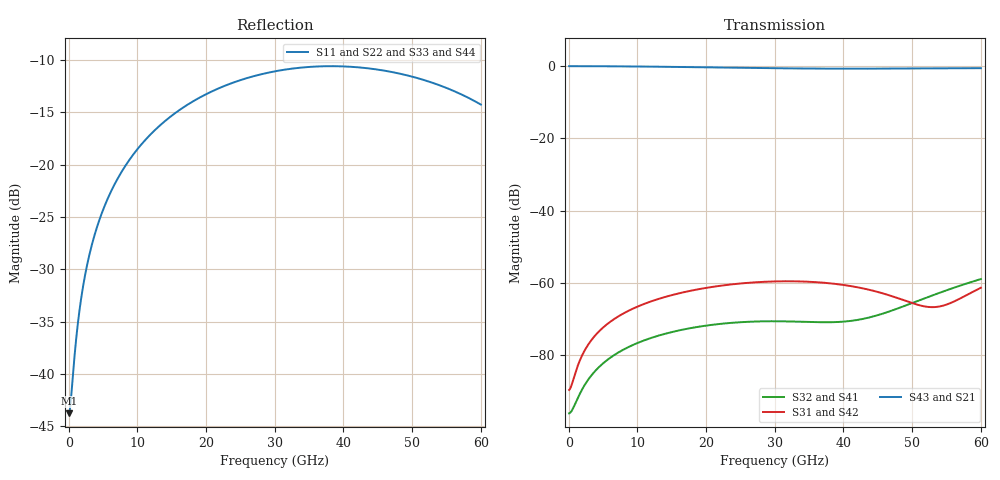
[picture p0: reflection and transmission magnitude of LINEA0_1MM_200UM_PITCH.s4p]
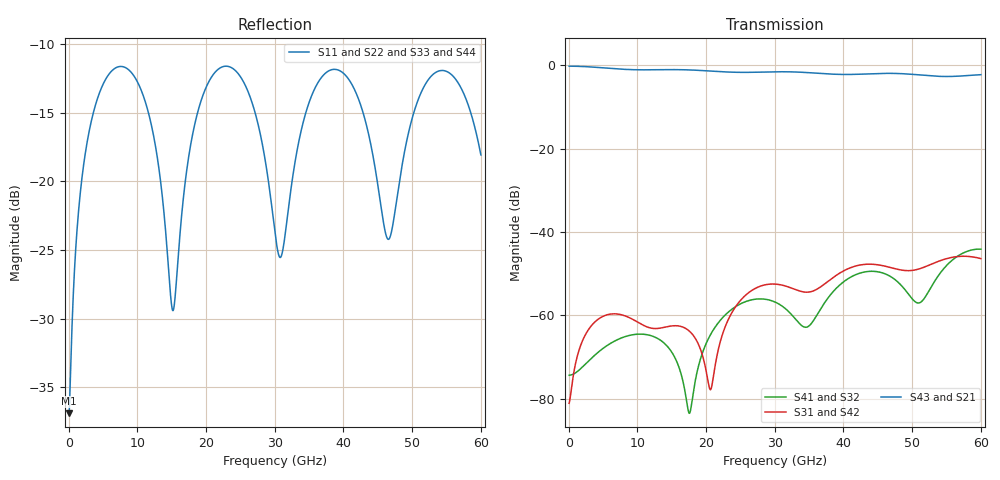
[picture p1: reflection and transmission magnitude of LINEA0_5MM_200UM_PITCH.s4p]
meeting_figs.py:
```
"""Figures and equation images for the meeting deck (crosstalk_meeting.pptx)."""
import os, sys, numpy as np
HERE = os.path.dirname(os.path.abspath(__file__)); ROOT = os.path.abspath(os.path.join(HERE, "../../../.."))
sys.path.insert(0, ROOT)
import matplotlib; matplotlib.use("Agg"); import matplotlib.pyplot as plt
from mzm_interconnect import coupled_line as CL
OUT = os.path.join(HERE, "meeting_img"); os.makedirs(OUT, exist_ok=True)
NAVY = "#0E2268"; RED = "#F20013"
db = lambda x: 20*np.log10(np.abs(x)+1e-30)
def rd(fn):
    toks = []
    for l in open(fn):
        l = l.split('!')[0].strip()
        if not l or l.startswith('#'): continue
        toks += l.split()
    v = np.array(toks, float).reshape(-1, 33)
    return v[:, 0], (v[:, 1::2]*np.exp(1j*np.radians(v[:, 2::2]))).reshape(-1, 4, 4)
ds = CL.load_dataset()
plt.rcParams.update({"font.family": "DejaVu Sans", "font.size": 11, "axes.grid": True, "grid.alpha": .3})
# validation: model (gold dn, band) vs 3-D at 1 and 5 mm, 50 ohm ports
fig, axs = plt.subplots(2, 2, figsize=(11, 6.2), sharex=True)
for j, (L, fn) in enumerate(((1, "LINEA0_1MM_200UM_PITCH.s4p"), (5, "LINEA0_5MM_200UM_PITCH.s4p"))):
    f, S = rd(os.path.join(HERE, "..", fn)); m = (f > 0.2) & (f <= 60)
    p = dict(f_max_GHz=60, xt_L_mm=L, ng=2.27, Zs_R=50, Zs_L_pH=0, Zs_C_fF=0, Rt_R=50, Rt_L_pH=0, Rt_C_fF=0)
    lo = CL.device_crosstalk(p, ds["dz_lo"], f[m]); hi = CL.device_crosstalk(p, ds["dz_hi"], f[m])
    fit = CL.device_crosstalk(p, 0.0023, f[m])
    for i, (k, nm) in enumerate(((2, "NEXT |S31|"), (3, "FEXT |S41|"))):
        ax = axs[i, j]; a, b = db(lo["block"]["S"][k][0]), db(hi["block"]["S"][k][0])
        ax.fill_between(f[m], np.minimum(a, b), np.maximum(a, b), color=RED, alpha=.25, lw=0, label="model, δ = 0.21–0.61 %")
        if k == 2: ax.plot(f[m], db(fit["block"]["S"][k][0]), color=RED, lw=1.2, label="model, δ = 0.23 % (fit to 1 mm)")
        ax.plot(f[m], db(S[m, k, 0]), color="k", lw=1.6, label="3-D CST (coworker)")
        ax.set_title(f"{nm}, L = {L} mm", fontsize=11); ax.set_ylim(-110, -30)
        if j == 0: ax.set_ylabel("dB")
        if i == 1: ax.set_xlabel("frequency (GHz)")
axs[0, 0].legend(fontsize=9, loc="lower right")
fig.tight_layout(); fig.savefig(os.path.join(OUT, "validation.png"), dpi=150)
# equations
EQ = {
 "eq_modes": r"$\gamma_{e,o}=\gamma_{3D}\pm\frac{j}{2}\Delta\beta,\qquad Z_{e,o}=Z_{3D}\left(1\pm\frac{\delta}{2}\right)$",
 "eq_coupling": r"$\delta=\frac{Z_e}{Z_o}-1\approx k_L+k_C,\qquad \frac{\Delta n}{n}=\frac{n_e-n_o}{n}\approx k_L-k_C$",
 "eq_single": r"$S_{11}=\frac{\Gamma\,(1-t^2)}{1-\Gamma^2t^2},\quad S_{21}=\frac{(1-\Gamma^2)\,t}{1-\Gamma^2t^2},\quad \Gamma=\frac{Z-z_0}{Z+z_0},\ t=e^{-\gamma L}$",
 "eq_xt": r"$\mathrm{NEXT}=\frac{1}{2}\left(S_{11}^{e}-S_{11}^{o}\right),\qquad \mathrm{FEXT}=\frac{1}{2}\left(S_{21}^{e}-S_{21}^{o}\right)$",
 "eq_next": r"$\mathrm{NEXT}\approx\frac{\delta}{4}\,(1-t^2)\;+\;\mathcal{O}(\Gamma\,\Delta\beta L)$",
 "eq_fext": r"$|\mathrm{FEXT}|\approx e^{-\alpha L}\,\frac{\pi f L\,\Delta n}{c}\;+\;\mathcal{O}(\Gamma\,\delta)$",
 "eq_nulls": r"$f_m=\frac{m\,c}{2nL}$",
 "eq_H": r"$H_k(f)=\frac{1}{L}\int_0^L V_k(z)\,e^{\,j\beta_o(z-L)}\,dz,\quad \beta_o=\frac{2\pi f n_g}{c}$",
 "eq_EO": r"$\mathrm{EO\ crosstalk}=\left|\frac{H_B(f)}{H_A(f)}\right|$",
 "eq_Vm": r"$V_m(z)=V_m^{+}\left[e^{-\gamma_m z}+\Gamma_{t,m}\,e^{-2\gamma_m L}\,e^{+\gamma_m z}\right],\qquad m=e,o$",
 "eq_Vplus": r"$V_m^{+}=\frac{E}{2}\,\frac{Z_m}{Z_m+Z_s}\,\frac{1}{1-\Gamma_{s,m}\Gamma_{t,m}e^{-2\gamma_m L}},\quad \Gamma_{s,m}=\frac{Z_s-Z_m}{Z_s+Z_m},\ \Gamma_{t,m}=\frac{R_t-Z_m}{R_t+Z_m}$",
 "eq_Hm": r"$H_m=\frac{e^{-j\beta_o L}}{L}\left[V_m^{+}\,F(-\gamma_m+j\beta_o)+V_m^{-}\,F(+\gamma_m+j\beta_o)\right],\qquad F(q)=\int_0^L e^{qz}dz=\frac{e^{qL}-1}{q}$",
 "eq_HAB": r"$H_A=\frac{1}{2}\left(H_e+H_o\right),\qquad H_B=\frac{1}{2}\left(H_e-H_o\right),\qquad \mathrm{EO\ crosstalk}=\left|\frac{H_B}{H_A}\right|$",
 "eq_ratio": r"$\frac{H_B}{H_A}\approx\frac{\delta}{4}\;-\;\frac{j\Delta\beta}{2}\left[\frac{L\,e^{qL}}{e^{qL}-1}-\frac{1}{q}\right],\qquad q=-\gamma+j\beta_o$",
 "eq_limit": r"$\frac{H_B}{H_A}\approx\frac{\delta}{4}-\frac{j\Delta\beta L}{4}=\frac{\delta}{4}+\frac{\mathrm{FEXT}}{2}$",
 "eq_back": r"$\frac{|F(\gamma+j\beta_o)|}{L}\approx\frac{1}{(\beta+\beta_o)L}$",
 "eq_VAB": r"$V_{A,B}(z)=\frac{1}{2}\left[V_e(z)\pm V_o(z)\right]$",
}
for k, t in EQ.items():
    fg = plt.figure(figsize=(0.1, 0.1)); fg.text(0, 0, t, fontsize=22, color=NAVY)
    fg.savefig(os.path.join(OUT, k + ".png"), dpi=200, bbox_inches="tight", pad_inches=0.04, transparent=True); plt.close(fg)
print("ok")
```
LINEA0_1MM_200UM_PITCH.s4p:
! TOUCHSTONE file generated by CST MICROWAVE STUDIO
! Date and time: Wed Oct 14 10:40:22 2026
! Project name: LINEA0_1MM_200UM_PITCH.cst
! Parameters = {CHANNEL_PITCH=0.2; GAP=0.00415; L=1; L1=0.02; L2=0.086; L3=0.066; NCELL=1; PITCH=0.18; START_POSITION=0.08; W1=0.003; W2=0.004; W3=0.009; WG=0.04985; gap_oxr=0.00125; linbo3_thickness=0.0002; mtx=0.002; oxiDinE=0.0014; w=0.15; ws=0.035}
! Header version: 2024
! Port assignment regex: !\s*Touchstone port\s*([0-9]+)\s*=\s*(CST MWS port|CST DES external port|CST DES block port)\s*(.+)\s* \(\"(.*)\"\)(\s*mode\s*([0-9]+))?.*
! Touchstone port assignment:
! Touchstone port 1 = CST MWS port 1 ("")
! Touchstone port 2 = CST MWS port 2 ("")
! Touchstone port 3 = CST MWS port 3 ("")
! Touchstone port 4 = CST MWS port 4 ("")
# GHz S MA R 50
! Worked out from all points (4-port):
!   1000 points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, 60 MHz to 60 GHz, reference 50 ohm
!   strongest paths, dB at 60 MHz, 15.06 GHz, 30.06 GHz, 45.06 GHz, 60 GHz:
!     S43: -0.1, -0.3, -0.6, -0.7, -0.6
!     S21: -0.1, -0.3, -0.6, -0.7, -0.6
!     S31: -89.6, -63.4, -59.6, -62.6, -61.4
!     S42: -89.6, -63.4, -59.6, -62.6, -61.4
!     S32: -96.1, -73.6, -70.6, -68.9, -59.0
!     S41: -96.1, -73.6, -70.6, -68.9, -59.0
!   lowest |S11| = -43.7 dB at 60 MHz (marker M1), VSWR 1.01, Z = 50.6 - j0.0756 ohm
!   |S11| at or under -10 dB: start of sweep to end of sweep
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0.06  0.006495 -6.6  0.9921 -0.2  3.3e-05 4.9  1.566e-05 176.4
      0.9921 -0.2  0.006495 -6.6  1.566e-05 176.4  3.3e-05 4.9
      3.3e-05 4.9  1.566e-05 176.4  0.006485 -6.6  0.9921 -0.2
      1.566e-05 176.4  3.3e-05 4.9  0.9921 -0.2  0.006485 -6.6
15.36  0.175 -123.6  0.9694 -38.4  0.0006892 48.8  0.0002121 20.7
       0.9694 -38.4  0.175 -123.6  0.0002121 20.7  0.0006892 48.8
       0.0006892 48.8  0.0002121 20.7  0.1751 -123.6  0.9694 -38.4
       0.0002121 20.7  0.0006892 48.8  0.9694 -38.4  0.1751 -123.6
60  0.1937 137.7  0.9306 -141.3  0.0008552 27.8  0.001127 -105.1
    0.9306 -141.3  0.1937 137.7  0.001127 -105.1  0.0008552 27.8
    0.0008552 27.8  0.001127 -105.1  0.1939 137.7  0.9307 -141.2
    0.001127 -105.1  0.0008552 27.8  0.9307 -141.2  0.1939 137.7
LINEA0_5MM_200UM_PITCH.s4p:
! TOUCHSTONE file generated by CST MICROWAVE STUDIO
! Date and time: Thu Oct 15 09:16:29 2026
! Project name: LINEA0_5MM_200UM_PITCH.cst
! Parameters = {CHANNEL_PITCH=0.2; GAP=0.00415; L=5; L1=0.02; L2=0.086; L3=0.066; NCELL=1; PITCH=0.18; START_POSITION=0.08; W1=0.003; W2=0.004; W3=0.009; WG=0.04985; gap_oxr=0.00125; linbo3_thickness=0.0002; mtx=0.002; oxiDinE=0.0014; w=0.15; ws=0.035}
! Header version: 2024
! Port assignment regex: !\s*Touchstone port\s*([0-9]+)\s*=\s*(CST MWS port|CST DES external port|CST DES block port)\s*(.+)\s* \(\"(.*)\"\)(\s*mode\s*([0-9]+))?.*
! Touchstone port assignment:
! Touchstone port 1 = CST MWS port 1 ("")
! Touchstone port 2 = CST MWS port 2 ("")
! Touchstone port 3 = CST MWS port 3 ("")
! Touchstone port 4 = CST MWS port 4 ("")
# GHz S MA R 50
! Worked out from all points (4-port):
!   1000 points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, 60 MHz to 60 GHz, reference 50 ohm
!   strongest paths, dB at 60 MHz, 15.06 GHz, 30.06 GHz, 45.06 GHz, 60 GHz:
!     S43: -0.2, -1.0, -1.5, -1.9, -2.2
!     S21: -0.2, -1.0, -1.5, -2.0, -2.2
!     S31: -81.1, -62.5, -52.5, -47.9, -46.4
!     S42: -81.1, -62.5, -52.5, -47.9, -46.4
!     S41: -74.4, -69.0, -56.8, -49.6, -44.1
!     S32: -74.4, -69.0, -56.8, -49.6, -44.1
!   lowest |S11| = -36.9 dB at 60 MHz (marker M1), VSWR 1.03, Z = 51.4 - j0.352 ohm
!   |S11| at or under -10 dB: start of sweep to end of sweep
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0.06  0.01428 -13.9  0.9786 -0.8  8.818e-05 9.2  0.0001907 177.2
      0.9786 -0.8  0.01428 -13.9  0.0001907 177.2  8.818e-05 9.2
      8.81e-05 9.2  0.0001911 177.2  0.01426 -13.9  0.9786 -0.8
      0.0001911 177.2  8.81e-05 9.2  0.9786 -0.8  0.01426 -13.9
15.06  0.0343 176.1  0.8898 -178.9  0.0007479 -18.1  0.0003559 117.3
       0.8898 -178.9  0.0343 176.1  0.0003559 117.3  0.0007479 -18.1
       0.000748 -18.1  0.0003557 117.3  0.03434 175.7  0.89 -178.8
       0.0003557 117.3  0.000748 -18.1  0.89 -178.8  0.03434 175.7
60  0.125 146.1  0.7726 22.2  0.004802 -67.7  0.006239 -26.9
    0.7726 22.2  0.125 146.1  0.006239 -26.9  0.004802 -67.7
    0.004801 -67.7  0.006236 -26.9  0.1256 146.0  0.7733 22.3
    0.006236 -26.9  0.004801 -67.7  0.7733 22.3  0.1256 146.0
